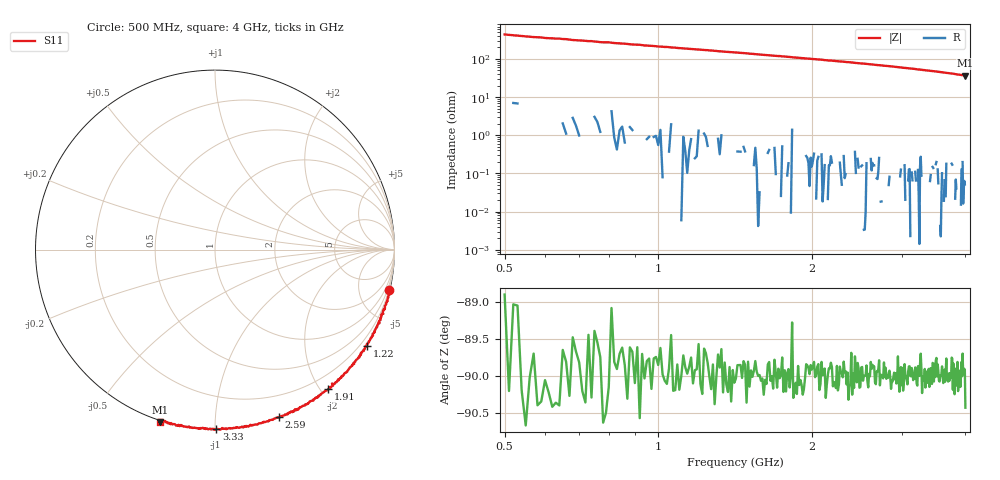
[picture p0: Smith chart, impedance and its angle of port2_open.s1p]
!Agilent Technologies,E8363C,MY49030273,A.09.42.18
!Agilent E8363C: A.09.42.18
!Date: Tuesday, May 03, 2022 03:56:08
!Correction: S22(Full 2 Port(1,2))
!S1P File: Measurement: S22:
!Created with skrf (http://scikit-rf.org).
# GHz S RI R 50.0
!freq ReS11 ImS11
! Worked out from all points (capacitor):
!   351 points, 500 MHz to 4 GHz, reference 50 ohm
!   read as one part to ground: C = 746 fF near 510 MHz
!   lowest |Z| = 36.6 ohm at 4 GHz (marker M1)
!   S11 on the Smith chart (normalised r, x): 500 MHz: 0.17, -8.71; 1.22 GHz: -0.01, -3.44; 1.91 GHz: -0.00, -2.10; 2.59 GHz: 0.00, -1.45; 3.33 GHz: 0.00, -1.01; 4 GHz: -0.01, -0.73
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0.5  0.9697 -0.2257
0.64  0.9594 -0.2891
0.78  0.9381 -0.3576
0.8  0.9353 -0.3564
0.81  0.9256 -0.3629
0.92  0.9166 -0.41
0.94  0.9054 -0.4252
1.22  0.8457 -0.5379
1.38  0.8023 -0.5947
1.49  0.7757 -0.6374
1.82  0.6622 -0.7492
1.91  0.6316 -0.7774
2.25  0.5002 -0.8693
2.35  0.4572 -0.8885
2.36  0.4632 -0.8918
2.39  0.4468 -0.8892
2.4  0.4382 -0.9033
2.59  0.3558 -0.934
2.69  0.3069 -0.9507
2.95  0.1978 -0.9756
2.97  0.185 -0.9865
3.13  0.1094 -0.9941
3.33  0.00811 -0.9983
3.57  -0.0974 -0.9951
3.8  -0.2061 -0.982
3.88  -0.2549 -0.969
3.95  -0.28 -0.9547
4  -0.3052 -0.9598
